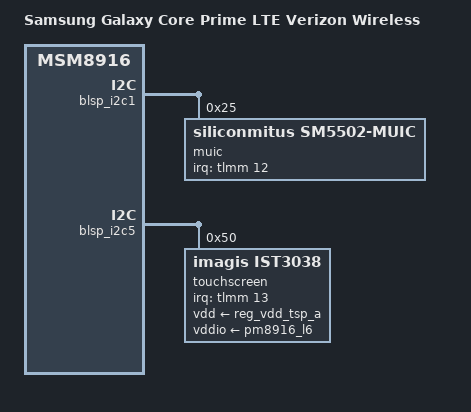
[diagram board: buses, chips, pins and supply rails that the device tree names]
// SPDX-License-Identifier: GPL-2.0-only

/dts-v1/;

#include "msm8916-samsung-rossa-common.dtsi"

/* SM5502 MUIC instead of SM5504 */
/delete-node/ &muic;

/ {
	model = "Samsung Galaxy Core Prime LTE Verizon Wireless";
	compatible = "samsung,coreprimeltevzw", "qcom,msm8916";
	chassis-type = "handset";
};

&battery {
	charge-term-current-microamp = <150000>;
	constant-charge-current-max-microamp = <700000>;
	constant-charge-voltage-max-microvolt = <4400000>;
};

&blsp_i2c1 {
	muic: extcon@25 {
		compatible = "siliconmitus,sm5502-muic";
		reg = <0x25>;
		interrupts-extended = <&tlmm 12 IRQ_TYPE_EDGE_FALLING>;
		pinctrl-0 = <&muic_int_default>;
		pinctrl-names = "default";

		usb_con: connector {
			compatible = "usb-b-connector";
			label = "micro-USB";
			type = "micro";
		};
	};
};

&blsp_i2c5 {
	touchscreen@50 {
		compatible = "imagis,ist3038";
		reg = <0x50>;

		interrupts-extended = <&tlmm 13 IRQ_TYPE_EDGE_FALLING>;

		touchscreen-size-x = <480>;
		touchscreen-size-y = <800>;

		vdd-supply = <&reg_vdd_tsp_a>;
		vddio-supply = <&pm8916_l6>;

		pinctrl-0 = <&tsp_int_default>;
		pinctrl-names = "default";

		linux,keycodes = <KEY_APPSELECT KEY_BACK>;
	};
};

&mpss_mem {
	/* Firmware for rossa needs more space */
	reg = <0x0 0x86800000 0x0 0x5800000>;
};

&s3fwrn5_nfc {
	status = "disabled";
};
